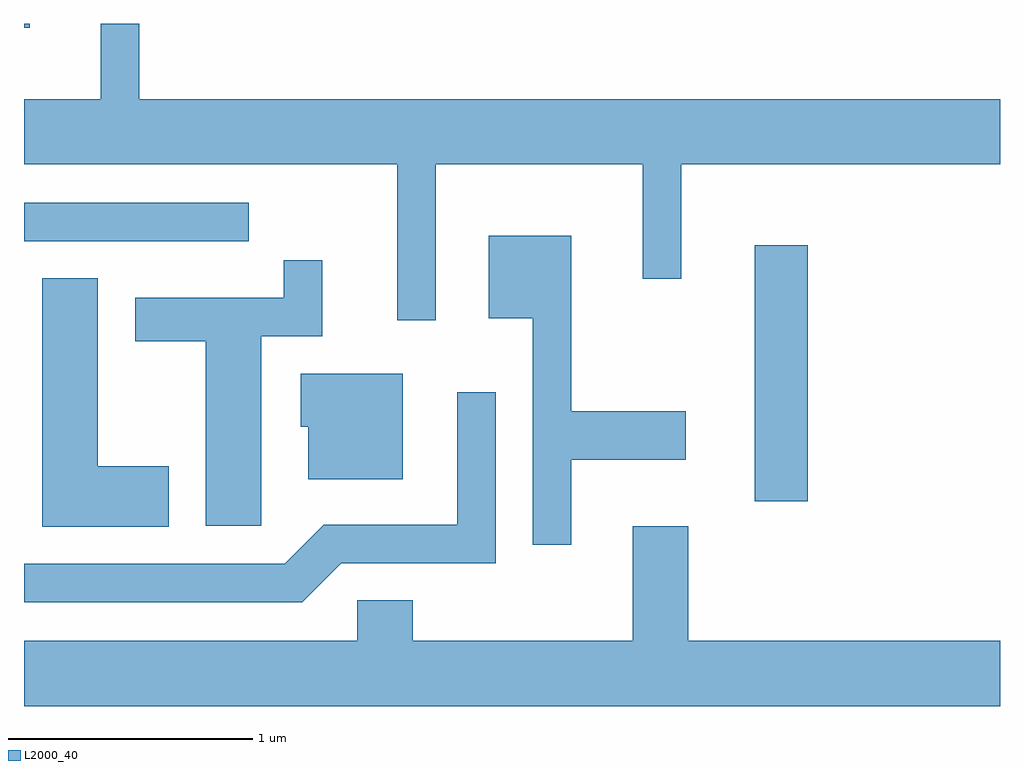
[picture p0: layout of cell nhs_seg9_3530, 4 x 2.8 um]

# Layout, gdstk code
import gdstk
lib = gdstk.Library(unit=1e-6, precision=1e-09)
def R(c, l, rs):  # rectangles x0, y0, x1, y1
    for r in rs: c.add(gdstk.rectangle(r[:2], r[2:], *l))
def P(c, l, *ps):  # polygons
    for p in ps: c.add(gdstk.Polygon(p, *l))
L2000_40 = (2000, 40)

nhs_seg9_3530 = lib.new_cell('nhs_seg9_3530')
R(nhs_seg9_3530, L2000_40, [(292.606,1950.476,292.824,1951.524), (289.611,1951.541,290.533,1951.699), (289.611,1952.416,289.634,1952.432)])
P(nhs_seg9_3530, L2000_40, [(291.299,1951.856),(292.146,1951.856),(292.146,1951.388),(292.304,1951.388),(292.304,1951.856),(293.611,1951.856),(293.611,1952.124),(290.084,1952.124),(290.084,1952.432),(289.926,1952.432),(289.926,1952.124),(289.611,1952.124),(289.611,1951.856),(291.141,1951.856),(291.141,1951.218),(291.299,1951.218)],
  [(291.854,1950.646),(292.324,1950.646),(292.324,1950.844),(291.854,1950.844),(291.854,1951.564),(291.516,1951.564),(291.516,1951.226),(291.696,1951.226),(291.696,1950.298),(291.854,1950.298)],
  [(290.584,1951.151),(290.834,1951.151),(290.834,1951.463),(290.676,1951.463),(290.676,1951.309),(290.066,1951.309),(290.066,1951.131),(290.356,1951.131),(290.356,1950.376),(290.584,1950.376)],
  [(290.204,1950.619),(289.914,1950.619),(289.914,1951.389),(289.686,1951.389),(289.686,1950.371),(290.204,1950.371)],
  [(291.164,1950.999),(290.746,1950.999),(290.746,1950.781),(290.776,1950.781),(290.776,1950.566),(291.164,1950.566)],
  [(290.912,1950.221),(291.544,1950.221),(291.544,1950.923),(291.386,1950.923),(291.386,1950.379),(290.839,1950.379),(290.679,1950.219),(289.611,1950.219),(289.611,1950.061),(290.752,1950.061)],
  [(293.611,1949.904),(292.334,1949.904),(292.334,1950.374),(292.106,1950.374),(292.106,1949.904),(291.204,1949.904),(291.204,1950.069),(290.976,1950.069),(290.976,1949.904),(289.611,1949.904),(289.611,1949.636),(293.611,1949.636)])

lib.write_gds('nhs_seg9_3530.gds')
